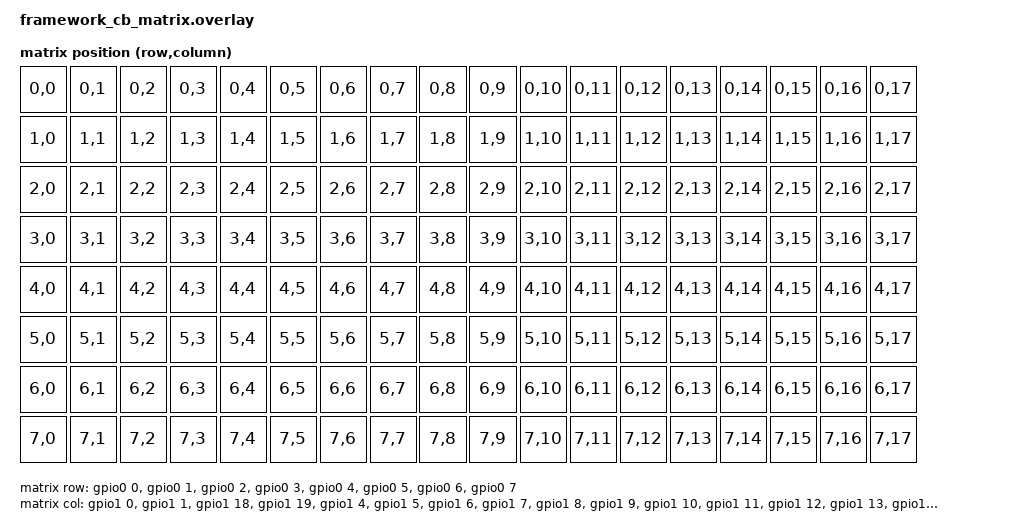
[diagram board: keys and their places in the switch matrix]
/*
 * Copyright (c) 2026 Shaedil
 * SPDX-License-Identifier: MIT
 */

#include <dt-bindings/zmk/matrix_transform.h>
#include <physical_layouts.dtsi>

/ {
    // A chosen zmk,matrix-transform would disconnect the matrix input
    chosen {
        zmk,matrix-input = &matrix;
        zmk,physical-layout = &default_layout;
    };

    default_layout: default_layout {
        compatible = "zmk,physical-layout";
        display-name = "Header matrix";
        transform = <&default_transform>;
        keys
            = <&key_physical_attrs 100 100    0   0 0 0 0>
            , <&key_physical_attrs 100 100  100   0 0 0 0>
            , <&key_physical_attrs 100 100  200   0 0 0 0>
            , <&key_physical_attrs 100 100  300   0 0 0 0>
            , <&key_physical_attrs 100 100  400   0 0 0 0>
            , <&key_physical_attrs 100 100  500   0 0 0 0>
            , <&key_physical_attrs 100 100  600   0 0 0 0>
            , <&key_physical_attrs 100 100  700   0 0 0 0>
            , <&key_physical_attrs 100 100  800   0 0 0 0>
            , <&key_physical_attrs 100 100  900   0 0 0 0>
            , <&key_physical_attrs 100 100 1000   0 0 0 0>
            , <&key_physical_attrs 100 100 1100   0 0 0 0>
            , <&key_physical_attrs 100 100 1200   0 0 0 0>
            , <&key_physical_attrs 100 100 1300   0 0 0 0>
            , <&key_physical_attrs 100 100 1400   0 0 0 0>
            , <&key_physical_attrs 100 100 1500   0 0 0 0>
            , <&key_physical_attrs 100 100 1600   0 0 0 0>
            , <&key_physical_attrs 100 100 1700   0 0 0 0>
            , <&key_physical_attrs 100 100    0 100 0 0 0>
            , <&key_physical_attrs 100 100  100 100 0 0 0>
            , <&key_physical_attrs 100 100  200 100 0 0 0>
            , <&key_physical_attrs 100 100  300 100 0 0 0>
            , <&key_physical_attrs 100 100  400 100 0 0 0>
            , <&key_physical_attrs 100 100  500 100 0 0 0>
            , <&key_physical_attrs 100 100  600 100 0 0 0>
            , <&key_physical_attrs 100 100  700 100 0 0 0>
            , <&key_physical_attrs 100 100  800 100 0 0 0>
            , <&key_physical_attrs 100 100  900 100 0 0 0>
            , <&key_physical_attrs 100 100 1000 100 0 0 0>
            , <&key_physical_attrs 100 100 1100 100 0 0 0>
            , <&key_physical_attrs 100 100 1200 100 0 0 0>
            , <&key_physical_attrs 100 100 1300 100 0 0 0>
            , <&key_physical_attrs 100 100 1400 100 0 0 0>
            , <&key_physical_attrs 100 100 1500 100 0 0 0>
            , <&key_physical_attrs 100 100 1600 100 0 0 0>
            , <&key_physical_attrs 100 100 1700 100 0 0 0>
            , <&key_physical_attrs 100 100    0 200 0 0 0>
            , <&key_physical_attrs 100 100  100 200 0 0 0>
            , <&key_physical_attrs 100 100  200 200 0 0 0>
            , <&key_physical_attrs 100 100  300 200 0 0 0>
            , <&key_physical_attrs 100 100  400 200 0 0 0>
            , <&key_physical_attrs 100 100  500 200 0 0 0>
            , <&key_physical_attrs 100 100  600 200 0 0 0>
            , <&key_physical_attrs 100 100  700 200 0 0 0>
            , <&key_physical_attrs 100 100  800 200 0 0 0>
            , <&key_physical_attrs 100 100  900 200 0 0 0>
            , <&key_physical_attrs 100 100 1000 200 0 0 0>
            , <&key_physical_attrs 100 100 1100 200 0 0 0>
            , <&key_physical_attrs 100 100 1200 200 0 0 0>
            , <&key_physical_attrs 100 100 1300 200 0 0 0>
            , <&key_physical_attrs 100 100 1400 200 0 0 0>
            , <&key_physical_attrs 100 100 1500 200 0 0 0>
            , <&key_physical_attrs 100 100 1600 200 0 0 0>
            , <&key_physical_attrs 100 100 1700 200 0 0 0>
            , <&key_physical_attrs 100 100    0 300 0 0 0>
            , <&key_physical_attrs 100 100  100 300 0 0 0>
            , <&key_physical_attrs 100 100  200 300 0 0 0>
            , <&key_physical_attrs 100 100  300 300 0 0 0>
            , <&key_physical_attrs 100 100  400 300 0 0 0>
            , <&key_physical_attrs 100 100  500 300 0 0 0>
            , <&key_physical_attrs 100 100  600 300 0 0 0>
            , <&key_physical_attrs 100 100  700 300 0 0 0>
            , <&key_physical_attrs 100 100  800 300 0 0 0>
            , <&key_physical_attrs 100 100  900 300 0 0 0>
            , <&key_physical_attrs 100 100 1000 300 0 0 0>
            , <&key_physical_attrs 100 100 1100 300 0 0 0>
            , <&key_physical_attrs 100 100 1200 300 0 0 0>
            , <&key_physical_attrs 100 100 1300 300 0 0 0>
            , <&key_physical_attrs 100 100 1400 300 0 0 0>
            , <&key_physical_attrs 100 100 1500 300 0 0 0>
            , <&key_physical_attrs 100 100 1600 300 0 0 0>
            , <&key_physical_attrs 100 100 1700 300 0 0 0>
            , <&key_physical_attrs 100 100    0 400 0 0 0>
            , <&key_physical_attrs 100 100  100 400 0 0 0>
            , <&key_physical_attrs 100 100  200 400 0 0 0>
            , <&key_physical_attrs 100 100  300 400 0 0 0>
            , <&key_physical_attrs 100 100  400 400 0 0 0>
            , <&key_physical_attrs 100 100  500 400 0 0 0>
            , <&key_physical_attrs 100 100  600 400 0 0 0>
            , <&key_physical_attrs 100 100  700 400 0 0 0>
            , <&key_physical_attrs 100 100  800 400 0 0 0>
            , <&key_physical_attrs 100 100  900 400 0 0 0>
            , <&key_physical_attrs 100 100 1000 400 0 0 0>
            , <&key_physical_attrs 100 100 1100 400 0 0 0>
            , <&key_physical_attrs 100 100 1200 400 0 0 0>
            , <&key_physical_attrs 100 100 1300 400 0 0 0>
            , <&key_physical_attrs 100 100 1400 400 0 0 0>
            , <&key_physical_attrs 100 100 1500 400 0 0 0>
            , <&key_physical_attrs 100 100 1600 400 0 0 0>
            , <&key_physical_attrs 100 100 1700 400 0 0 0>
            , <&key_physical_attrs 100 100    0 500 0 0 0>
            , <&key_physical_attrs 100 100  100 500 0 0 0>
            , <&key_physical_attrs 100 100  200 500 0 0 0>
            , <&key_physical_attrs 100 100  300 500 0 0 0>
            , <&key_physical_attrs 100 100  400 500 0 0 0>
            , <&key_physical_attrs 100 100  500 500 0 0 0>
            , <&key_physical_attrs 100 100  600 500 0 0 0>
            , <&key_physical_attrs 100 100  700 500 0 0 0>
            , <&key_physical_attrs 100 100  800 500 0 0 0>
            , <&key_physical_attrs 100 100  900 500 0 0 0>
            , <&key_physical_attrs 100 100 1000 500 0 0 0>
            , <&key_physical_attrs 100 100 1100 500 0 0 0>
            , <&key_physical_attrs 100 100 1200 500 0 0 0>
            , <&key_physical_attrs 100 100 1300 500 0 0 0>
            , <&key_physical_attrs 100 100 1400 500 0 0 0>
            , <&key_physical_attrs 100 100 1500 500 0 0 0>
            , <&key_physical_attrs 100 100 1600 500 0 0 0>
            , <&key_physical_attrs 100 100 1700 500 0 0 0>
            , <&key_physical_attrs 100 100    0 600 0 0 0>
            , <&key_physical_attrs 100 100  100 600 0 0 0>
            , <&key_physical_attrs 100 100  200 600 0 0 0>
            , <&key_physical_attrs 100 100  300 600 0 0 0>
            , <&key_physical_attrs 100 100  400 600 0 0 0>
            , <&key_physical_attrs 100 100  500 600 0 0 0>
            , <&key_physical_attrs 100 100  600 600 0 0 0>
            , <&key_physical_attrs 100 100  700 600 0 0 0>
            , <&key_physical_attrs 100 100  800 600 0 0 0>
            , <&key_physical_attrs 100 100  900 600 0 0 0>
            , <&key_physical_attrs 100 100 1000 600 0 0 0>
            , <&key_physical_attrs 100 100 1100 600 0 0 0>
            , <&key_physical_attrs 100 100 1200 600 0 0 0>
            , <&key_physical_attrs 100 100 1300 600 0 0 0>
            , <&key_physical_attrs 100 100 1400 600 0 0 0>
            , <&key_physical_attrs 100 100 1500 600 0 0 0>
            , <&key_physical_attrs 100 100 1600 600 0 0 0>
            , <&key_physical_attrs 100 100 1700 600 0 0 0>
            , <&key_physical_attrs 100 100    0 700 0 0 0>
            , <&key_physical_attrs 100 100  100 700 0 0 0>
            , <&key_physical_attrs 100 100  200 700 0 0 0>
            , <&key_physical_attrs 100 100  300 700 0 0 0>
            , <&key_physical_attrs 100 100  400 700 0 0 0>
            , <&key_physical_attrs 100 100  500 700 0 0 0>
            , <&key_physical_attrs 100 100  600 700 0 0 0>
            , <&key_physical_attrs 100 100  700 700 0 0 0>
            , <&key_physical_attrs 100 100  800 700 0 0 0>
            , <&key_physical_attrs 100 100  900 700 0 0 0>
            , <&key_physical_attrs 100 100 1000 700 0 0 0>
            , <&key_physical_attrs 100 100 1100 700 0 0 0>
            , <&key_physical_attrs 100 100 1200 700 0 0 0>
            , <&key_physical_attrs 100 100 1300 700 0 0 0>
            , <&key_physical_attrs 100 100 1400 700 0 0 0>
            , <&key_physical_attrs 100 100 1500 700 0 0 0>
            , <&key_physical_attrs 100 100 1600 700 0 0 0>
            , <&key_physical_attrs 100 100 1700 700 0 0 0>
            ;
    };

    default_transform: matrix_transform {
        compatible = "zmk,matrix-transform";
        rows = <8>;
        columns = <18>;
        map = <
            RC(0,0) RC(0,1) RC(0,2) RC(0,3) RC(0,4) RC(0,5) RC(0,6) RC(0,7) RC(0,8) RC(0,9) RC(0,10) RC(0,11) RC(0,12) RC(0,13) RC(0,14) RC(0,15) RC(0,16) RC(0,17)
            RC(1,0) RC(1,1) RC(1,2) RC(1,3) RC(1,4) RC(1,5) RC(1,6) RC(1,7) RC(1,8) RC(1,9) RC(1,10) RC(1,11) RC(1,12) RC(1,13) RC(1,14) RC(1,15) RC(1,16) RC(1,17)
            RC(2,0) RC(2,1) RC(2,2) RC(2,3) RC(2,4) RC(2,5) RC(2,6) RC(2,7) RC(2,8) RC(2,9) RC(2,10) RC(2,11) RC(2,12) RC(2,13) RC(2,14) RC(2,15) RC(2,16) RC(2,17)
            RC(3,0) RC(3,1) RC(3,2) RC(3,3) RC(3,4) RC(3,5) RC(3,6) RC(3,7) RC(3,8) RC(3,9) RC(3,10) RC(3,11) RC(3,12) RC(3,13) RC(3,14) RC(3,15) RC(3,16) RC(3,17)
            RC(4,0) RC(4,1) RC(4,2) RC(4,3) RC(4,4) RC(4,5) RC(4,6) RC(4,7) RC(4,8) RC(4,9) RC(4,10) RC(4,11) RC(4,12) RC(4,13) RC(4,14) RC(4,15) RC(4,16) RC(4,17)
            RC(5,0) RC(5,1) RC(5,2) RC(5,3) RC(5,4) RC(5,5) RC(5,6) RC(5,7) RC(5,8) RC(5,9) RC(5,10) RC(5,11) RC(5,12) RC(5,13) RC(5,14) RC(5,15) RC(5,16) RC(5,17)
            RC(6,0) RC(6,1) RC(6,2) RC(6,3) RC(6,4) RC(6,5) RC(6,6) RC(6,7) RC(6,8) RC(6,9) RC(6,10) RC(6,11) RC(6,12) RC(6,13) RC(6,14) RC(6,15) RC(6,16) RC(6,17)
            RC(7,0) RC(7,1) RC(7,2) RC(7,3) RC(7,4) RC(7,5) RC(7,6) RC(7,7) RC(7,8) RC(7,9) RC(7,10) RC(7,11) RC(7,12) RC(7,13) RC(7,14) RC(7,15) RC(7,16) RC(7,17)
        >;
    };

    matrix: matrix {
        compatible = "zmk,input-gpio-matrix";
        wakeup-source;
        diode-direction = "col2row";

        row-gpios
            = <&gpio0 0 (GPIO_ACTIVE_HIGH | GPIO_PULL_DOWN)>
            , <&gpio0 1 (GPIO_ACTIVE_HIGH | GPIO_PULL_DOWN)>
            , <&gpio0 2 (GPIO_ACTIVE_HIGH | GPIO_PULL_DOWN)>
            , <&gpio0 3 (GPIO_ACTIVE_HIGH | GPIO_PULL_DOWN)>
            , <&gpio0 4 (GPIO_ACTIVE_HIGH | GPIO_PULL_DOWN)>
            , <&gpio0 5 (GPIO_ACTIVE_HIGH | GPIO_PULL_DOWN)>
            , <&gpio0 6 (GPIO_ACTIVE_HIGH | GPIO_PULL_DOWN)>
            , <&gpio0 7 (GPIO_ACTIVE_HIGH | GPIO_PULL_DOWN)>
            ;
        col-gpios
            = <&gpio1 0 GPIO_ACTIVE_HIGH>
            , <&gpio1 1 GPIO_ACTIVE_HIGH>
            , <&gpio1 18 GPIO_ACTIVE_HIGH>
            , <&gpio1 19 GPIO_ACTIVE_HIGH>
            , <&gpio1 4 GPIO_ACTIVE_HIGH>
            , <&gpio1 5 GPIO_ACTIVE_HIGH>
            , <&gpio1 6 GPIO_ACTIVE_HIGH>
            , <&gpio1 7 GPIO_ACTIVE_HIGH>
            , <&gpio1 8 GPIO_ACTIVE_HIGH>
            , <&gpio1 9 GPIO_ACTIVE_HIGH>
            , <&gpio1 10 GPIO_ACTIVE_HIGH>
            , <&gpio1 11 GPIO_ACTIVE_HIGH>
            , <&gpio1 12 GPIO_ACTIVE_HIGH>
            , <&gpio1 13 GPIO_ACTIVE_HIGH>
            , <&gpio1 14 GPIO_ACTIVE_HIGH>
            , <&gpio1 15 GPIO_ACTIVE_HIGH>
            , <&gpio1 16 GPIO_ACTIVE_HIGH>
            , <&gpio1 17 GPIO_ACTIVE_HIGH>
            ;
    };
};
